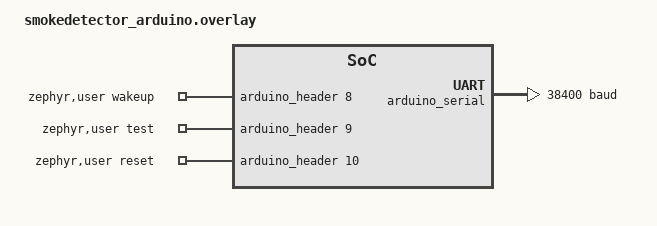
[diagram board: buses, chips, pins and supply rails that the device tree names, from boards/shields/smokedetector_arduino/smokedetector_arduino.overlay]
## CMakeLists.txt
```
# Copyright (c) 2022 ARM Limited. All rights reserved.
# SPDX-License-Identifier: Apache-2.0

cmake_minimum_required(VERSION 3.19.0)

set(MBED_PATH ${CMAKE_CURRENT_SOURCE_DIR}/mbed-os CACHE INTERNAL "")
set(MBED_CONFIG_PATH ${CMAKE_CURRENT_BINARY_DIR} CACHE INTERNAL "")
set(APP_TARGET smoke-detector-arduino)

include(FetchContent)
include(${MBED_PATH}/tools/cmake/app.cmake)

project(${APP_TARGET})

FetchContent_Declare(
    uartframeparser
    GIT_REPOSITORY https://github.com/zxf1023818103/uartframeparser.git
    GIT_TAG origin/zephyr
)

FetchContent_MakeAvailable(uartframeparser)

include_directories(${uartframeparser_SOURCE_DIR}/include)

add_subdirectory(${MBED_PATH})

add_executable(${APP_TARGET}
    main.cpp
)

target_link_libraries(${APP_TARGET} mbed-os uartframeparser)

mbed_set_post_build(${APP_TARGET})

option(VERBOSE_BUILD "Have a verbose build process")
if(VERBOSE_BUILD)
    set(CMAKE_VERBOSE_MAKEFILE ON)
endif()
```

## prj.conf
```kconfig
CONFIG_LOG=y
CONFIG_HEAP_MEM_POOL_SIZE=4096
CONFIG_UART_INTERRUPT_DRIVEN=y
CONFIG_NEWLIB_LIBC=y
CONFIG_FPU=y
```

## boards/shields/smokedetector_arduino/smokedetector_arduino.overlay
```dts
/ {
    zephyr,user {
        wakeup-gpios = <&arduino_header 8 (GPIO_PULL_UP | GPIO_ACTIVE_HIGH)>;
        test-gpios = <&arduino_header 9 GPIO_ACTIVE_HIGH>;
        reset-gpios = <&arduino_header 10 GPIO_ACTIVE_HIGH>;
    };
};

&arduino_serial {
    current-speed = < 38400 >;
    parity = "none";
    status = "okay";
};
```

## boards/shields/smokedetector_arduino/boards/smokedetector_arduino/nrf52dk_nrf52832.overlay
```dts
&button0 {
    status = "disabled";
};

&button1 {
    status = "disabled";
};

&button2 {
    status = "disabled";
};
```

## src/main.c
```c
#include <zephyr.h>
#include <logging/log.h>
#include <device.h>
#include <devicetree.h>
#include <drivers/gpio.h>
#include <drivers/uart.h>
#include <uartframeparser.h>
#include <string.h>
#include <stdlib.h>
#include <assert.h>
#include <stdio.h>

LOG_MODULE_REGISTER(main);

#ifdef CONFIG_SHIELD_SMOKEDETECTOR_ARDUIONO
# define ARDUINO_SERIAL_NODE DT_NODELABEL(arduino_serial)
#
# if DT_NODE_HAS_STATUS(ARDUINO_SERIAL_NODE, okay)
#  define ARDUINO_SERIAL DT_LABEL(ARDUINO_SERIAL_NODE)
# else
#  error "Unsupported board: arduino_serial device tree node not found"
# endif
#
# define ZEPHYR_USER DT_PATH(zephyr_user)
# if DT_NODE_EXISTS(ZEPHYR_USER)
#  define WAKEUP_PIN_DT_SPEC GPIO_DT_SPEC_GET_BY_IDX(ZEPHYR_USER, wakeup_gpios, 0)
#  define RESET_PIN_DT_SPEC GPIO_DT_SPEC_GET_BY_IDX(ZEPHYR_USER, reset_gpios, 0)
#  define TEST_PIN_DT_SPEC GPIO_DT_SPEC_GET_BY_IDX(ZEPHYR_USER, test_gpios, 0)
# else
#  error "zephyr,user undefined"
# endif
#else
# error "Shield not found"
#endif

static void on_error(void* user_ptr, enum uart_frame_parser_error_types error_type, const char* file, int line, const char* fmt, ...) {

    (void)user_ptr;

    const char* error_type_name[] = { "", "cJSON", "malloc", "Config Parse", "Lua" };

    const char* log_template = "%s:%d:%s: %s";
    char* format = (char*)calloc(snprintf(NULL, 0, log_template, file, line, error_type_name[error_type], fmt) + 1, 1);
    assert(format != NULL);
    sprintf(format, log_template, file, line, error_type_name[error_type], fmt);

    va_list ap1, ap2;
    va_start(ap1, fmt);
    va_copy(ap2, ap1);

    char* message = (char*)calloc(vsnprintf(NULL, 0, format, ap1) + 1, 1);
    assert(message != NULL);
    vsprintf(message, format, ap2);
    LOG_INF("%s", message);
    free(message);
    free(format);
}

void on_data1(void* buffer, struct uart_frame_definition* frame_definition, uint32_t frame_bytes, struct uart_frame_field_info* field_info_head, void* user_ptr) {
    
    struct uart_frame_field_data* field_data_head = uart_frame_parser_read_concerned_fields(buffer, field_info_head, NULL, on_error, user_ptr);

    uart_frame_parser_eval_tostring_expression(field_info_head);

    const char* json = uart_frame_parser_jsonify_frame_data(buffer, frame_definition, frame_bytes, field_data_head);

    LOG_INF("%s", json);

    free((void*)json);

    uart_frame_parser_field_data_release(field_data_head);
}

const char* json = "{\"$schema\":\"./frame.json\",\"definitions\":[{\"name\":\"status_report\",\"fields\":[{\"bytes\":2,\"name\":\"sof\",\"default\":\"return '\\\\x55\\\\xaa'\",\"description\":\"Start of Frame\"},{\"bytes\":1,\"name\":\"length\",\"description\":\"Length of Frame\"},{\"bytes\":\"return byte(3) - 4\",\"name\":\"subframe\",\"frames\":[\"subframe1\",\"subframe2\"]},{\"bytes\":1,\"name\":\"checksum\",\"description\":\"Checksum\"}],\"validator\":\"return byte(1) == 0x55 and byte(2) == 0xaa and byte(byte(3)) == (sum(1, byte(3) - 1) & 0xff)\"},{\"name\":\"subframe1\",\"description\":\"Subframe 1\",\"fields\":[{\"bytes\":1,\"name\":\"sof\",\"description\":\"Start of Frame\",\"default\":\"return '\\\\x01'\",\"tostring\":\"return 'Start of Frame'\"},{\"bytes\":1,\"name\":\"working_status\",\"description\":\"Working status\",\"bitfields\":[{\"name\":\"fan_status\",\"description\":\"Fan Status\",\"bits\":1,\"tostring\":\"return ({'Off','On'})[(byte(2) & 1) + 1]\"},{\"bits\":7}]}],\"validator\":\"return byte(1) == 0x01\"},{\"name\":\"subframe2\",\"description\":\"Subframe 2\",\"fields\":[{\"bytes\":1,\"name\":\"sof\",\"description\":\"Start of Frame\",\"default\":\"return '\\\\x02'\"},{\"bytes\":1,\"name\":\"fan_status\",\"description\":\"Fan status\"}],\"validator\":\"return byte(1) == 0x02\"}],\"frames\":[\"status_report\"],\"init\":\"function sum(from, to) result = 0; for i = from, to, 1 do result = result + byte(i) end; return result; end\"}";

void main(void)
{
	// const struct device* arduino_serial = device_get_binding(ARDUINO_SERIAL);
	// const struct gpio_dt_spec wakeup_pin_dt_spec = WAKEUP_PIN_DT_SPEC;
	// const struct gpio_dt_spec test_pin_dt_spec = TEST_PIN_DT_SPEC;
	// const struct gpio_dt_spec reset_pin_dt_spec = RESET_PIN_DT_SPEC;

	struct uart_frame_parser *parser = uart_frame_parser_create(json, (uint32_t)strlen(json), on_error, on_data1, NULL);

    const uint8_t data[] = { 0x55, 0xaa, 0x07, 0x01, 0x01, 0x02, 0x0a,
                            0x55, 0xaa, 0x07, 0x02, 0x01, 0x02, 0x0b };

    uart_frame_parser_feed_data(parser, (const uint8_t*)data, sizeof data);

    uart_frame_parser_release(parser);
}
```

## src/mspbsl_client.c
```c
#include <logging/log.h>
#include <zephyr.h>
#include <device.h>
#include <drivers/gpio.h>
#include <drivers/uart.h>

LOG_MODULE_REGISTER(mspbsl);

static K_FIFO_DEFINE(uart_fifo);

enum mspbsl_errors {
    ERR_MORE_DATA,
    ERR_CHECKSUM,
    SUCCESS,
};

enum mspbsl_commands {
    CMD_RX_DATA_BLOCK = 0x10,
    CMD_RX_PASSWORD = 0x11,
    CMD_MASS_ERASE = 0x15,
    CMD_CRC_CHECK = 0x16,
    CMD_LOAD_PC = 0x17,
    CMD_TX_DATA_BLOCK = 0x18,
    CMD_TX_BSL_VERSION = 0x19,
    CMD_RX_DATA_BLOCK_FAST = 0x1B,
    CMD_CHANGE_BAUD_RATE = 0x52,
};

enum mspbsl_baud_rates {
    BAUDRATE_9600 = 0x02,
    BAUDRATE_19200 = 0x03,
    BAUDRATE_38400 = 0x04,
    BAUDRATE_57600 = 0x05,
    BAUDRATE_115200 = 0x06,
};

struct mspbsl_response {
    
    sys_snode_t node;

    uint8_t ack;

    uint16_t length;

    uint8_t bsl_core_response[1];
};

static uint16_t calc_checksum(const uint8_t* packet, uint16_t packet_size) {
    uint16_t checksum_low, checksum_high;
    checksum_low = checksum_high = 0;
    for (uint16_t i = 0; i < packet_size - 2; i += 2) {
        checksum_low ^= packet[i];
    }
    for (uint16_t i = 1; i < packet_size - 2; i += 2) {
        checksum_high ^= packet[i];
    }

    uint16_t checksum = checksum_low | (checksum_high << 8);
    return ~checksum;
}

static int validate_bsl_response(const uint8_t* data, uint32_t data_size) {
    if (data_size >= 4) {
        uint8_t ack = data[0];
        uint8_t header = data[1];
        uint16_t length_low = data[2];
        uint16_t length_high = data[3];
        uint16_t length = length_low | (length_high << 8);
        uint16_t packet_length = length + 5;
        
        if (header == 0x80 && data_size >= packet_length) {
            uint16_t checksum_low = data[packet_length - 2];
            uint16_t checksum_high = data[packet_length - 1];
            uint16_t checksum = checksum_low | (checksum_high << 8);
            uint16_t excepted_checksum = calc_checksum(data, data_size);
            if (checksum == excepted_checksum) {
                return SUCCESS;
            }
            else {
                LOG_ERR("checksum: 0x%04x, except 0x%04x", checksum, excepted_checksum);
                return ERR_CHECKSUM;
            }
        }
        else {
            return ERR_MORE_DATA;
        }
    }
    else {
        return ERR_MORE_DATA;
    }
}

static int try_to_parse_mspbsl_response(struct mspbsl_response** const response, const uint8_t* data, uint32_t data_size) {
    int ret = validate_bsl_response(data, data_size);
    if (!ret) {
        uint16_t length_low = data[2];
        uint16_t length_high = data[3];
        uint16_t length = length_low | (length_high << 8);

        struct mspbsl_response* response = k_malloc(sizeof(struct mspbsl_response) + length - 1);
        if (response) {
            response->ack = data[0];
            response->length = length;
            memcpy(response->bsl_core_response, data + 4, length);
            return SUCCESS;
        }
        else {
            return -ENOMEM;
        }
    }
    else {
        return ret;
    }
}

static int next_mspbsl_response(struct mspbsl_response** const response, const uint8_t* data, uint32_t data_size) {
    for (;;) {
        int ret = try_to_parse_mspbsl_response(response, data, data_size);
        if (ret == ERR_CHECKSUM) {
            
        }
        else {
            return ret;
        }
    }
}

static void on_uart_irq(const struct device *uart_device, void *user_data) {
    ARG_UNUSED(user_data);

    while (uart_irq_update(uart_device) && uart_irq_is_pending(uart_device)) {
        int ret = uart_irq_rx_ready(uart_device);
        if (ret == 1) {
            for (;;) {
                uint8_t ch;
                ret = uart_fifo_read(uart_device, &ch, 1);
                if (ret > 0) {
                    
                }
                else if (ret == 0) {
                    break;
                }
                else {
                    LOG_ERR("uart_fifo_read(): %d", ret);
                    return;
                }
            }
        }
        else if (ret == 0) {
            continue;
        }
        else {
            LOG_ERR("uart_irq_rx_ready(): %d", ret);
            return;
        }
    }
}

static int configure_serial(const struct device* uart_device) {
    struct uart_config uart_config = {
        .baudrate = 9600,
        .data_bits = UART_CFG_DATA_BITS_8,
        .flow_ctrl = UART_CFG_FLOW_CTRL_NONE,
        .parity = UART_CFG_PARITY_EVEN,
        .stop_bits = UART_CFG_STOP_BITS_1,
    };

    uart_irq_rx_disable(uart_device);
    int ret = uart_configure(uart_device, &uart_config);
    if (!ret) {
        uart_irq_callback_user_data_set(uart_device, on_uart_irq, NULL);
    }
    else {
        LOG_ERR("uart_configure(): %d", ret);
    }
    return ret;
}

static int configure_device(const struct device* uart_device,
                            const struct gpio_dt_spec* test_pin_dt_spec,
                            const struct gpio_dt_spec* reset_pin_dt_spec) {
	int ret = configure_serial(uart_device);
    if (!ret) {
        ret = gpio_pin_configure_dt(test_pin_dt_spec, 0);
        if (!ret) {
            ret = gpio_pin_configure_dt(reset_pin_dt_spec, 0);
            return ret;
        }
        else {
            return ret;
        }
    }
    else {
        return ret;
    }
}

static int send_bsl_entry_sequence(const struct gpio_dt_spec* test_pin_dt_spec,
                                   const struct gpio_dt_spec* reset_pin_dt_spec) {
    int ret;

    do {
        ret = gpio_pin_set_dt(test_pin_dt_spec, 0);
        if (ret) {
            break;
        }

        ret = gpio_pin_set_dt(reset_pin_dt_spec, 0);
        if (ret) {
            break;
        }

        k_msleep(1);

        ret = gpio_pin_set_dt(test_pin_dt_spec, 1);
        if (ret) {
            break;
        }

        k_usleep(CONFIG_MSP430_SBW_ENABLE_MICROSECONDS);

        ret = gpio_pin_set_dt(test_pin_dt_spec, 0);
        if (ret) {
            break;
        }

        k_usleep(CONFIG_MSP430_SBW_ENABLE_MICROSECONDS);

        ret = gpio_pin_set_dt(test_pin_dt_spec, 1);
        if (ret) {
            break;
        }

        k_usleep(CONFIG_MSP430_SBW_ENABLE_MICROSECONDS);

        ret = gpio_pin_set_dt(reset_pin_dt_spec, 1);
        if (ret) {
            break;
        }

        ret = gpio_pin_set_dt(test_pin_dt_spec, 0);
        if (ret) {
            break;
        }

        return 0;
    }
    while (0);

    LOG_ERR("gpio_pin_set_dt(): %d", ret);
    return ret;
}

static int send_bsl_data_packet(const struct device* uart_device, const uint8_t* data, uint16_t length) {
    uint16_t packet_size = length + 5;
    uint8_t* packet = k_malloc(packet_size);
    if (packet) {
        packet[0] = 0x80; /// header
        packet[1] = length & 0xff;
        packet[2] = (length >> 8) & 0xff;
        memcpy(packet + 3, data, length);

        uint16_t checksum = calc_checksum(packet, packet_size);
        packet[packet_size - 2] = checksum & 0xff;
        packet[packet_size - 1] = (checksum >> 8) & 0xff;

        int ret = uart_tx(uart_device, packet, packet_size, SYS_FOREVER_MS);
        if (ret) {
            LOG_ERR("uart_tx(): %d", ret);
            return ret;
        }
        return 0;
    }
    else {
        LOG_ERR("%s", "k_malloc(): NULL");
        return -ENOMEM;
    }
}

static int rx_password(const struct device* uart_device, const uint8_t password[32]) {
    uint8_t data[33];
    data[0] = CMD_RX_PASSWORD;
    memcpy(data + 1, password, 32);
    return send_bsl_data_packet(uart_device, data, sizeof data);
}

static int tx_bsl_version(const struct device* uart_device) {
    uint8_t data[1] = { CMD_TX_BSL_VERSION };
    return send_bsl_data_packet(uart_device, data, sizeof data);
}

static int rx_data_block_with_cmd(const struct device* uart_device, uint8_t cmd, uint32_t address, const uint8_t* data, uint16_t data_size) {
    uint16_t buffer_size = data_size + 4;
    uint8_t *buffer = k_malloc(buffer_size);
    if (buffer) {

        buffer[0] = cmd;
        buffer[1] = address;
        buffer[2] = address >> 8;
        buffer[3] = address >> 16;
        memcpy(buffer + 4, data, data_size);

        int ret = send_bsl_data_packet(uart_device, buffer, buffer_size);
        
        k_free(data);

        return ret;
    }
    else {
        LOG_ERR("%s", "k_malloc(): NULL");
        return -ENOMEM;
    }
}

static int rx_data_block(const struct device* uart_device, uint32_t address, const uint8_t* data, uint16_t data_size) {
    return rx_data_block_with_cmd(uart_device, CMD_RX_DATA_BLOCK, address, data, data_size);
}

static int rx_data_block_fast(const struct device* uart_device, uint32_t address, const uint8_t* data, uint16_t data_size) {
    return rx_data_block_with_cmd(uart_device, CMD_RX_DATA_BLOCK_FAST, address, data, data_size);
}

static int mass_erase(const struct device* uart_device) {
    uint8_t data[1] = { CMD_MASS_ERASE };
    return send_bsl_data_packet(uart_device, data, sizeof data);
}

static int crc_check(const struct device* uart_device, uint32_t address, uint16_t length) {
    uint8_t data[6] = { CMD_CRC_CHECK, address, address >> 8, address >> 16, length, length >> 8 };
    return send_bsl_data_packet(uart_device, data, sizeof data);
}

static int load_pc(const struct device* uart_device, uint32_t address) {
    uint8_t data[4] = { CMD_LOAD_PC, address, address >> 8, address >> 16 };
    return send_bsl_data_packet(uart_device, data, sizeof data);
}

static int change_baud_rate(const struct device* uart_device, enum mspbsl_baud_rates baud_rate) {
    uint8_t data[2] = { CMD_CHANGE_BAUD_RATE, baud_rate };
    return send_bsl_data_packet(uart_device, data, sizeof data);
}

static int connect(const struct device* uart_device,
                   const struct gpio_dt_spec* test_pin_dt_spec,
                   const struct gpio_dt_spec* reset_pin_dt_spec) {
    
    int ret = send_bsl_entry_sequence(test_pin_dt_spec, reset_pin_dt_spec);
    
    uart_irq_rx_enable(uart_device);
}
```
